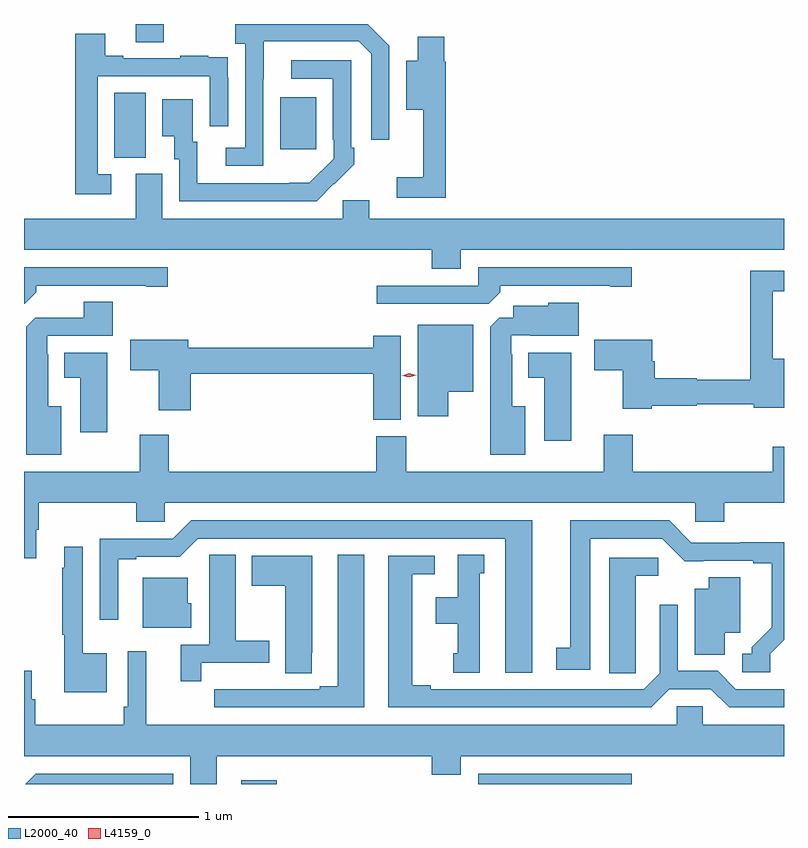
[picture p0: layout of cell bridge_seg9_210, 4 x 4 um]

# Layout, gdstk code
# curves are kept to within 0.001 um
import gdstk
lib = gdstk.Library(unit=1e-6, precision=1e-09)
def R(c, l, rs):  # rectangles x0, y0, x1, y1
    for r in rs: c.add(gdstk.rectangle(r[:2], r[2:], *l))
def P(c, l, *ps):  # polygons
    for p in ps: c.add(gdstk.Polygon(p, *l))
L2000_40 = (2000, 40)
L4159_0 = (4159, 0)

bridge_seg9_210 = lib.new_cell('bridge_seg9_210')
R(bridge_seg9_210, L2000_40, [(194.625,1205.597,194.813,1205.617), (195.873,1205.597,196.681,1205.652), (193.958,1208.893,194.122,1209.236), (194.831,1208.937,195.019,1209.211), (194.069,1209.502,194.217,1209.597)])
P(bridge_seg9_210, L2000_40, [(194.742,1209.307),(194.743,1209.507),(195.243,1209.507),(195.309,1209.441),(195.309,1208.988),(195.405,1208.988),(195.405,1209.483),(195.291,1209.597),(194.595,1209.597),(194.595,1209.494),(194.646,1209.494),(194.646,1208.946),(194.544,1208.946),(194.544,1208.85),(194.742,1208.85)],
  [(193.942,1208.805),(193.869,1208.805),(193.869,1209.321),(194.46,1209.321),(194.46,1209.06),(194.556,1209.06),(194.556,1209.314),(194.555,1209.314),(194.555,1209.423),(194.453,1209.423),(194.453,1209.43),(194.305,1209.43),(194.305,1209.417),(194.005,1209.417),(194.005,1209.43),(193.909,1209.43),(193.909,1209.547),(193.753,1209.547),(193.753,1208.7),(193.942,1208.7)],
  [(195.701,1209.399),(195.695,1209.399),(195.695,1209.529),(195.554,1209.529),(195.554,1209.403),(195.494,1209.403),(195.494,1209.146),(195.584,1209.146),(195.584,1208.791),(195.444,1208.791),(195.444,1208.682),(195.701,1208.682)],
  [(195.113,1208.755),(195.114,1208.754),(195.219,1208.859),(195.219,1208.947),(195.204,1208.947),(195.204,1209.405),(194.889,1209.405),(194.889,1209.309),(195.108,1209.309),(195.108,1208.989),(195.111,1208.989),(195.111,1208.889),(194.983,1208.761),(194.395,1208.76),(194.395,1208.976),(194.371,1208.976),(194.371,1209.202),(194.21,1209.202),(194.21,1209.005),(194.273,1209.005),(194.273,1208.886),(194.298,1208.886),(194.298,1208.664),(195.022,1208.664)],
  [(195.781,1208.408),(197.482,1208.408),(197.482,1208.572),(195.298,1208.572),(195.298,1208.67),(195.159,1208.67),(195.159,1208.572),(194.209,1208.572),(194.209,1208.808),(194.069,1208.808),(194.069,1208.572),(193.482,1208.572),(193.482,1208.408),(195.629,1208.408),(195.629,1208.309),(195.781,1208.309)],
  [(195.989,1208.186),(195.989,1208.22),(196.568,1208.22),(196.568,1208.215),(196.681,1208.215),(196.681,1208.316),(195.873,1208.316),(195.873,1208.22),(195.339,1208.22),(195.339,1208.124),(195.927,1208.124)],
  [(193.547,1208.186),(193.547,1208.22),(194.126,1208.22),(194.126,1208.215),(194.239,1208.215),(194.239,1208.316),(193.482,1208.316),(193.482,1208.124),(193.485,1208.124)],
  [(196.785,1207.588),(197.022,1207.588),(197.022,1207.596),(197.324,1207.596),(197.324,1207.577),(197.482,1207.577),(197.482,1207.834),(197.423,1207.834),(197.423,1208.19),(197.482,1208.19),(197.482,1208.298),(197.305,1208.298),(197.305,1207.724),(197.022,1207.724),(197.022,1207.732),(196.802,1207.732),(196.802,1207.823),(196.789,1207.823),(196.789,1207.936),(196.482,1207.936),(196.482,1207.774),(196.634,1207.774),(196.634,1207.571),(196.785,1207.571)],
  [(193.678,1207.585),(193.609,1207.585),(193.609,1207.859),(193.605,1207.859),(193.605,1207.956),(193.949,1207.956),(193.949,1208.135),(193.796,1208.135),(193.796,1208.052),(193.542,1208.052),(193.493,1208.003),(193.493,1207.331),(193.678,1207.331)],
  [(196.12,1207.585),(196.051,1207.585),(196.051,1207.859),(196.047,1207.859),(196.047,1207.959),(196.147,1207.959),(196.147,1207.955),(196.402,1207.955),(196.402,1208.131),(196.242,1208.131),(196.242,1208.113),(196.058,1208.113),(196.058,1208.052),(195.984,1208.052),(195.935,1208.003),(195.935,1207.331),(196.12,1207.331)],
  [(195.715,1207.661),(195.847,1207.661),(195.847,1208.014),(195.554,1208.014),(195.554,1207.533),(195.715,1207.533)],
  [(195.466,1207.957),(195.32,1207.957),(195.32,1207.892),(194.347,1207.892),(194.347,1207.936),(194.04,1207.936),(194.04,1207.774),(194.192,1207.774),(194.192,1207.563),(194.36,1207.563),(194.36,1207.756),(195.32,1207.756),(195.32,1207.513),(195.466,1207.513)],
  [(193.921,1207.867),(193.694,1207.867),(193.694,1207.736),(193.778,1207.736),(193.778,1207.449),(193.921,1207.449)],
  [(196.363,1207.867),(196.136,1207.867),(196.136,1207.736),(196.22,1207.736),(196.22,1207.404),(196.363,1207.404)],
  [(193.546,1206.934),(193.559,1206.934),(193.559,1207.076),(194.072,1207.076),(194.072,1206.978),(194.223,1206.978),(194.223,1207.076),(197.016,1207.076),(197.016,1206.978),(197.168,1206.978),(197.168,1207.076),(197.482,1207.076),(197.482,1207.372),(197.423,1207.372),(197.423,1207.24),(196.685,1207.24),(196.685,1207.435),(196.532,1207.435),(196.532,1207.24),(195.495,1207.24),(195.495,1207.428),(195.335,1207.428),(195.335,1207.24),(194.243,1207.24),(194.243,1207.435),(194.09,1207.435),(194.09,1207.24),(193.482,1207.24),(193.482,1206.786),(193.546,1206.786)],
  [(197.409,1206.282),(197.482,1206.355),(197.482,1206.869),(197.251,1206.869),(197.251,1206.867),(196.995,1206.867),(196.878,1206.984),(196.358,1206.984),(196.358,1206.314),(196.284,1206.314),(196.284,1206.198),(196.462,1206.198),(196.462,1206.888),(196.842,1206.888),(196.96,1206.77),(197.321,1206.771),(197.321,1206.759),(197.417,1206.759),(197.417,1206.422),(197.312,1206.317),(197.312,1206.282),(197.262,1206.282),(197.262,1206.186),(197.409,1206.186)],
  [(196.156,1206.984),(194.361,1206.984),(194.265,1206.888),(193.881,1206.888),(193.881,1206.462),(193.978,1206.462),(193.978,1206.78),(194.074,1206.78),(194.074,1206.792),(194.301,1206.792),(194.397,1206.888),(196.016,1206.888),(196.016,1206.183),(196.156,1206.183)],
  [(193.918,1206.286),(193.791,1206.286),(193.791,1206.847),(193.694,1206.847),(193.694,1206.734),(193.683,1206.734),(193.683,1206.382),(193.694,1206.382),(193.694,1206.08),(193.918,1206.08)],
  [(195.88,1206.705),(195.904,1206.705),(195.904,1206.803),(195.764,1206.803),(195.764,1206.58),(195.65,1206.58),(195.65,1206.44),(195.764,1206.44),(195.764,1206.285),(195.74,1206.285),(195.74,1206.183),(195.88,1206.183)],
  [(194.414,1206.234),(194.773,1206.234),(194.773,1206.351),(194.596,1206.351),(194.596,1206.803),(194.457,1206.803),(194.457,1206.692),(194.456,1206.692),(194.456,1206.33),(194.306,1206.33),(194.306,1206.138),(194.414,1206.138)],
  [(195.274,1206.803),(195.134,1206.803),(195.134,1206.111),(195.038,1206.111),(195.038,1206.096),(194.762,1206.096),(194.762,1206.097),(194.596,1206.097),(194.596,1206.096),(194.484,1206.096),(194.484,1206),(195.274,1206)],
  [(194.997,1206.289),(194.998,1206.289),(194.998,1206.799),(194.681,1206.799),(194.681,1206.64),(194.858,1206.64),(194.858,1206.181),(194.997,1206.181)],
  [(196.879,1206.096),(197.097,1206.096),(197.193,1206),(197.482,1206),(197.482,1206.096),(197.229,1206.096),(197.133,1206.192),(196.923,1206.192),(196.923,1206.541),(196.827,1206.541),(196.827,1206.18),(196.743,1206.096),(195.622,1206.096),(195.622,1206.116),(195.526,1206.116),(195.526,1206.702),(195.643,1206.702),(195.643,1206.798),(195.398,1206.798),(195.398,1206),(196.783,1206)],
  [(196.701,1206.289),(196.702,1206.289),(196.702,1206.692),(196.819,1206.692),(196.819,1206.789),(196.562,1206.789),(196.562,1206.181),(196.701,1206.181)],
  [(197.17,1206.392),(197.251,1206.392),(197.251,1206.686),(197.087,1206.686),(197.087,1206.625),(197.012,1206.625),(197.012,1206.277),(197.17,1206.277)],
  [(194.362,1206.549),(194.344,1206.549),(194.344,1206.682),(194.108,1206.682),(194.108,1206.419),(194.362,1206.419)],
  [(194.497,1205.744),(195.629,1205.744),(195.629,1205.645),(195.781,1205.645),(195.781,1205.744),(197.482,1205.744),(197.482,1205.908),(197.055,1205.908),(197.055,1206.006),(196.917,1206.006),(196.917,1205.908),(194.126,1205.908),(194.126,1206.295),(194.028,1206.295),(194.028,1206.004),(194.008,1206.004),(194.008,1205.908),(193.541,1205.908),(193.541,1206.042),(193.522,1206.042),(193.522,1206.193),(193.482,1206.193),(193.482,1205.744),(194.357,1205.744),(194.357,1205.597),(194.497,1205.597)],
  [(194.268,1205.652),(193.544,1205.652),(193.489,1205.597),(194.268,1205.597)])
P(bridge_seg9_210, L4159_0, [(195.51,1207.738),(195.472,1207.747),(195.472,1207.747),(195.472,1207.747),(195.509,1207.758),(195.547,1207.749),(195.547,1207.749),(195.547,1207.749)])

lib.write_gds('bridge_seg9_210.gds')
